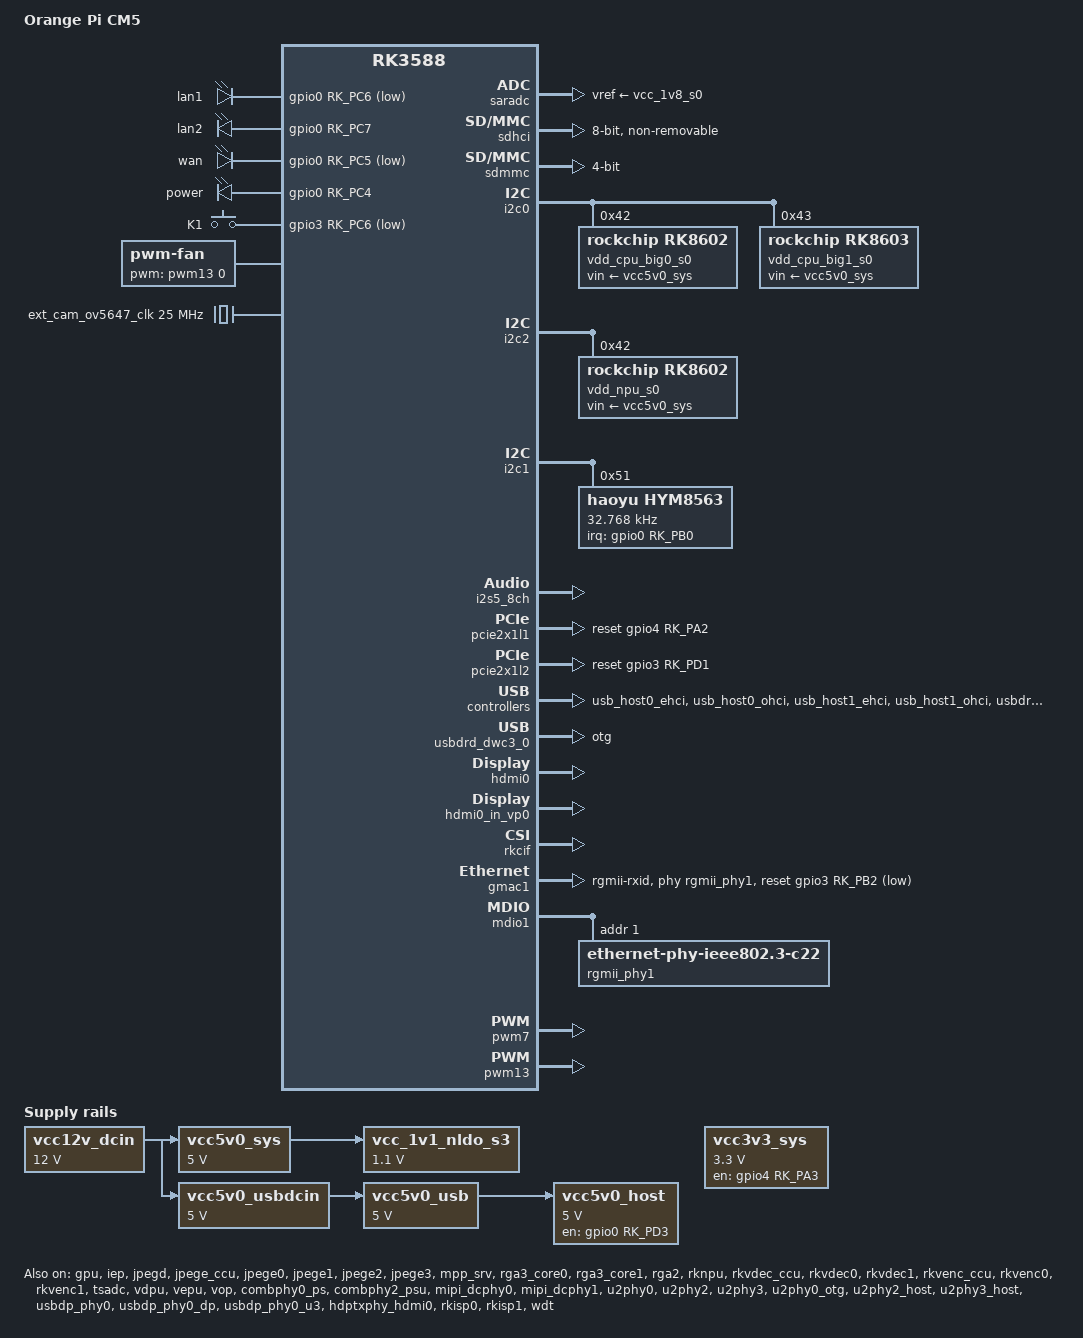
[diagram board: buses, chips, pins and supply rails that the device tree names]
// SPDX-License-Identifier: (GPL-2.0+ OR MIT)
/*
 * Copyright (c) 2021 Rockchip Electronics Co., Ltd.
 *
 */

/dts-v1/;

#include <dt-bindings/gpio/gpio.h>
#include <dt-bindings/pwm/pwm.h>
#include <dt-bindings/pinctrl/rockchip.h>
#include <dt-bindings/input/rk-input.h>
#include <dt-bindings/display/rockchip_vop.h>
#include <dt-bindings/sensor-dev.h>
#include "dt-bindings/usb/pd.h"

#include "rk3588s.dtsi"
#include "rk3588-rk806-single.dtsi"
#include "rk3588-linux.dtsi"

#include "rk3588s-orangepi-cm5-camera1.dtsi"
#include "rk3588s-orangepi-cm5-camera2.dtsi"
#include "rk3588s-orangepi-cm5-camera3.dtsi"
#include "rk3588s-orangepi-cm5-camera4.dtsi"

/ {
	model = "Orange Pi CM5";
	compatible = "rockchip,rk3588s-orangepi-cm5", "rockchip,rk3588";
	/delete-node/ chosen;

	hdmi0_sound: hdmi0-sound {
		status = "okay";
		compatible = "rockchip,hdmi";
		rockchip,mclk-fs = <128>;
		rockchip,card-name = "rockchip-hdmi0";
		rockchip,cpu = <&i2s5_8ch>;
		rockchip,codec = <&hdmi0>;
		rockchip,jack-det;
	};

	test-power {
		status = "disabled";
	};

	vcc12v_dcin: vcc12v-dcin {
		compatible = "regulator-fixed";
		regulator-name = "vcc12v_dcin";
		regulator-always-on;
		regulator-boot-on;
		regulator-min-microvolt = <12000000>;
		regulator-max-microvolt = <12000000>;
	};

	vcc5v0_sys: vcc5v0-sys {
		compatible = "regulator-fixed";
		regulator-name = "vcc5v0_sys";
		regulator-always-on;
		regulator-boot-on;
		regulator-min-microvolt = <5000000>;
		regulator-max-microvolt = <5000000>;
		vin-supply = <&vcc12v_dcin>;
	};

	vcc5v0_usbdcin: vcc5v0-usbdcin {
		compatible = "regulator-fixed";
		regulator-name = "vcc5v0_usbdcin";
		regulator-always-on;
		regulator-boot-on;
		regulator-min-microvolt = <5000000>;
		regulator-max-microvolt = <5000000>;
		vin-supply = <&vcc12v_dcin>;
	};

	vcc5v0_usb: vcc5v0-usb {
		compatible = "regulator-fixed";
		regulator-name = "vcc5v0_usb";
		regulator-always-on;
		regulator-boot-on;
		regulator-min-microvolt = <5000000>;
		regulator-max-microvolt = <5000000>;
		vin-supply = <&vcc5v0_usbdcin>;
	};

	vcc_1v1_nldo_s3: vcc-1v1-nldo-s3 {
		compatible = "regulator-fixed";
		regulator-name = "vcc_1v1_nldo_s3";
		regulator-always-on;
		regulator-boot-on;
		regulator-min-microvolt = <1100000>;
		regulator-max-microvolt = <1100000>;
		vin-supply = <&vcc5v0_sys>;
	};

	vcc5v0_host: vcc5v0-host {
		compatible = "regulator-fixed";
		regulator-name = "vcc5v0_host";
		regulator-boot-on;
		regulator-always-on;
		regulator-min-microvolt = <5000000>;
		regulator-max-microvolt = <5000000>;
		enable-active-high;
		gpio = <&gpio0 RK_PD3 GPIO_ACTIVE_HIGH>;
		vin-supply = <&vcc5v0_usb>;
		pinctrl-names = "default";
		pinctrl-0 = <&vcc5v0_host_en>;
	};

	vcc3v3_sys: vcc3v3-sys {
		compatible = "regulator-fixed";
		regulator-name = "vcc3v3_sys";
		regulator-min-microvolt = <3300000>;
		regulator-max-microvolt = <3300000>;
		regulator-boot-on;
		regulator-always-on;
		enable-active-high;
		gpios = <&gpio4 RK_PA3 GPIO_ACTIVE_HIGH>;
		startup-delay-us = <50000>;
	};

	leds: gpio-leds {
		compatible = "gpio-leds";
		pinctrl-names = "default";
		pinctrl-0 =<&leds_gpio>;
		status = "okay";

		lan1@0 {
			gpios = <&gpio0 RK_PC6 GPIO_ACTIVE_LOW>;
			label = "lan1";
			default-state = "on";
		};

		lan2@1 {
			gpios = <&gpio0 RK_PC7 GPIO_ACTIVE_HIGH>;
			label = "lan2";
			default-state = "on";
		};

		wan@3 {
			gpios = <&gpio0 RK_PC5 GPIO_ACTIVE_LOW>;
			label = "wan";
			default-state = "on";
		};

		power@4 {
			gpios = <&gpio0 RK_PC4 GPIO_ACTIVE_HIGH>;
			label = "power";
			default-state = "off";
		};
	};

	gpio_keys: gpio-keys {
		compatible = "gpio-keys";
		pinctrl-names = "default";
		pinctrl-0 = <&key1_pin>;
		status = "okay";

		button@1 {
			debounce-interval = <50>;
			gpios = <&gpio3 RK_PC6 GPIO_ACTIVE_LOW>;
			label = "K1";
			linux,code = <KEY_POWER>;
			wakeup-source;
		};
	};

	fan: pwm-fan {
		compatible = "pwm-fan";
		#cooling-cells = <2>;
		pwms = <&pwm13 0 20000000 0>;
		cooling-levels = <0 50 100 150 200 255>;
		rockchip,temp-trips = <
			50000   1
			55000   2
			60000   3
			65000   4
			70000   5
		>;

		status = "okay";
	};

	ext_cam_ov5647_clk: external-camera-ov5647-clock {
		compatible = "fixed-clock";
		clock-frequency = <25000000>;
		clock-output-names = "ext_cam_ov5647_clk";
		#clock-cells = <0>;
	};
};

&av1d_mmu {
	status = "okay";
};

&gpu {
	mali-supply = <&vdd_gpu_s0>;
	mem-supply = <&vdd_gpu_mem_s0>;
	status = "okay";
};

&iep {
	status = "okay";
};

&iep_mmu {
	status = "okay";
};

&jpegd {
	status = "okay";
};

&jpegd_mmu {
	status = "okay";
};

&jpege_ccu {
	status = "okay";
};

&jpege0 {
	status = "okay";
};

&jpege0_mmu {
	status = "okay";
};

&jpege1 {
	status = "okay";
};

&jpege1_mmu {
	status = "okay";
};

&jpege2 {
	status = "okay";
};

&jpege2_mmu {
	status = "okay";
};

&jpege3 {
	status = "okay";
};

&jpege3_mmu {
	status = "okay";
};

&mpp_srv {
	status = "okay";
};

&rga3_core0 {
	status = "okay";
};

&rga3_0_mmu {
	status = "okay";
};

&rga3_core1 {
	status = "okay";
};

&rga3_1_mmu {
	status = "okay";
};

&rga2 {
	status = "okay";
};

&rknpu {
	rknpu-supply = <&vdd_npu_s0>;
	mem-supply = <&vdd_npu_mem_s0>;
	status = "okay";
};

&rknpu_mmu {
	status = "okay";
};

&rkvdec_ccu {
	status = "okay";
};

&rkvdec0 {
	status = "okay";
};

&rkvdec0_mmu {
	status = "okay";
};

&rkvdec1 {
	status = "okay";
};

&rkvdec1_mmu {
	status = "okay";
};

&rkvenc_ccu {
	status = "okay";
};

&rkvenc0 {
	status = "okay";
};

&rkvenc0_mmu {
	status = "okay";
};

&rkvenc1 {
	status = "okay";
};

&rkvenc1_mmu {
	status = "okay";
};

&rockchip_suspend {
	status = "okay";
	rockchip,sleep-debug-en = <1>;
};

&saradc {
	status = "okay";
	vref-supply = <&vcc_1v8_s0>;
};

&sdhci {
	pinctrl-names = "default";
	pinctrl-0 = <&emmc_rstnout &emmc_bus8 &emmc_clk &emmc_cmd &emmc_data_strobe>;
	bus-width = <8>;
	no-sdio;
	no-sd;
	non-removable;
	max-frequency = <200000000>;
	mmc-hs400-1_8v;
	mmc-hs400-enhanced-strobe;
	status = "okay";
};

&sdmmc {
	max-frequency = <150000000>;
	no-sdio;
	no-mmc;
	bus-width = <4>;
	cap-mmc-highspeed;
	cap-sd-highspeed;
	disable-wp;
	sd-uhs-sdr104;
	vqmmc-supply = <&vccio_sd_s0>;
	status = "okay";
	/delete-property/ vmmc-supply;
};

&tsadc {
	status = "okay";
};

&vdpu {
	status = "okay";
};

&vdpu_mmu {
	status = "okay";
};

&vepu {
	status = "okay";
};

&vop {
	status = "okay";
	disable-win-move;
	assigned-clocks = <&cru ACLK_VOP>;
	assigned-clock-rates = <800000000>;
};

&vop_mmu {
	status = "okay";
};

/* vp0 & vp1 splice for 8K output */
&vp0 {
	cursor-win-id=<ROCKCHIP_VOP2_ESMART0>;
	rockchip,plane-mask = <(1 << ROCKCHIP_VOP2_CLUSTER0 | 1 << ROCKCHIP_VOP2_ESMART0)>;
	rockchip,primary-plane = <ROCKCHIP_VOP2_ESMART0>;
	rockchip,primary-plane = <ROCKCHIP_VOP2_CLUSTER0>;
};

&vp1 {
	cursor-win-id=<ROCKCHIP_VOP2_ESMART1>;
	rockchip,plane-mask = <(1 << ROCKCHIP_VOP2_CLUSTER1 | 1 << ROCKCHIP_VOP2_ESMART1)>;
	rockchip,primary-plane = <ROCKCHIP_VOP2_ESMART1>;
	rockchip,primary-plane = <ROCKCHIP_VOP2_CLUSTER1>;
};

&vp2 {
	cursor-win-id=<ROCKCHIP_VOP2_ESMART2>;
	rockchip,plane-mask = <(1 << ROCKCHIP_VOP2_CLUSTER2 | 1 << ROCKCHIP_VOP2_ESMART2)>;
	rockchip,primary-plane = <ROCKCHIP_VOP2_ESMART2>;
	rockchip,primary-plane = <ROCKCHIP_VOP2_CLUSTER2>;
};

&vp3 {
	cursor-win-id=<ROCKCHIP_VOP2_ESMART3>;
	rockchip,plane-mask = <(1 << ROCKCHIP_VOP2_CLUSTER3 | 1 << ROCKCHIP_VOP2_ESMART3)>;
	rockchip,primary-plane = <ROCKCHIP_VOP2_ESMART3>;
	rockchip,primary-plane = <ROCKCHIP_VOP2_CLUSTER3>;
};

&display_subsystem {
	clocks = <&hdptxphy_hdmi_clk0>;
	clock-names = "hdmi0_phy_pll";
};

&cpu_l0 {
	cpu-supply = <&vdd_cpu_lit_s0>;
	mem-supply = <&vdd_cpu_lit_mem_s0>;
};

&cpu_b0 {
	cpu-supply = <&vdd_cpu_big0_s0>;
	mem-supply = <&vdd_cpu_big0_mem_s0>;
};

&cpu_b2 {
	cpu-supply = <&vdd_cpu_big1_s0>;
	mem-supply = <&vdd_cpu_big1_mem_s0>;
};

&combphy0_ps {
	status = "okay";
};

&combphy2_psu {
	status = "okay";
};

&mipi_dcphy0 {
	status = "okay";
};

&mipi_dcphy1 {
	status = "okay";
};

&i2c0 {
	status = "okay";
	pinctrl-names = "default";
	pinctrl-0 = <&i2c0m2_xfer>;

	vdd_cpu_big0_s0: vdd_cpu_big0_mem_s0: rk8602@42 {
		compatible = "rockchip,rk8602";
		reg = <0x42>;
		vin-supply = <&vcc5v0_sys>;
		regulator-compatible = "rk860x-reg";
		regulator-name = "vdd_cpu_big0_s0";
		regulator-min-microvolt = <550000>;
		regulator-max-microvolt = <1050000>;
		regulator-ramp-delay = <2300>;
		rockchip,suspend-voltage-selector = <1>;
		regulator-boot-on;
		regulator-always-on;
		regulator-state-mem {
			regulator-off-in-suspend;
		};
	};

	vdd_cpu_big1_s0: vdd_cpu_big1_mem_s0: rk8603@43 {
		compatible = "rockchip,rk8603";
		reg = <0x43>;
		vin-supply = <&vcc5v0_sys>;
		regulator-compatible = "rk860x-reg";
		regulator-name = "vdd_cpu_big1_s0";
		regulator-min-microvolt = <550000>;
		regulator-max-microvolt = <1050000>;
		regulator-ramp-delay = <2300>;
		rockchip,suspend-voltage-selector = <1>;
		regulator-boot-on;
		regulator-always-on;
		regulator-state-mem {
			regulator-off-in-suspend;
		};
	};
};

&i2c2 {
	status = "okay";
	pinctrl-names = "default";
	pinctrl-0 = <&i2c2m0_xfer>;

	vdd_npu_s0: vdd_npu_mem_s0: rk8602@42 {
		compatible = "rockchip,rk8602";
		reg = <0x42>;
		vin-supply = <&vcc5v0_sys>;
		regulator-compatible = "rk860x-reg";
		regulator-name = "vdd_npu_s0";
		regulator-min-microvolt = <550000>;
		regulator-max-microvolt = <950000>;
		regulator-ramp-delay = <2300>;
		rockchip,suspend-voltage-selector = <1>;
		regulator-boot-on;
		regulator-always-on;
		regulator-state-mem {
			regulator-off-in-suspend;
		};
	};
};

&i2c1 {
	status = "okay";
	pinctrl-names = "default";
	pinctrl-0 = <&i2c1m2_xfer>;

	hym8563: hym8563@51 {
		compatible = "haoyu,hym8563";
		reg = <0x51>;
		#clock-cells = <0>;
		clock-frequency = <32768>;
		clock-output-names = "hym8563";
		pinctrl-names = "default";
		pinctrl-0 = <&hym8563_int>;
		interrupt-parent = <&gpio0>;
		interrupts = <RK_PB0 IRQ_TYPE_LEVEL_LOW>;
		status = "okay";
	};
};

&i2s5_8ch {
	status = "okay";
};

//phy2
&pcie2x1l1 {
	reset-gpios = <&gpio4 RK_PA2 GPIO_ACTIVE_HIGH>;
	status = "okay";
};

//phy0
&pcie2x1l2 {
	reset-gpios = <&gpio3 RK_PD1 GPIO_ACTIVE_HIGH>;
	status = "okay";
};

&pinctrl {
	usb {
		vcc5v0_host_en: vcc5v0-host-en {
			rockchip,pins = <0 RK_PD3 RK_FUNC_GPIO &pcfg_pull_none>;
		};
	};

	hym8563 {
		hym8563_int: hym8563-int {
			rockchip,pins = <0 RK_PB0 RK_FUNC_GPIO &pcfg_pull_up>;
		};
	};

	gpio-key {
		key1_pin: key1-pin {
			rockchip,pins = <3 RK_PC6 RK_FUNC_GPIO &pcfg_pull_up>;
		};
	};

	gpio-func {
		leds_gpio: leds-gpio {
			rockchip,pins =
				<0 RK_PC5 RK_FUNC_GPIO &pcfg_pull_none>,
				<0 RK_PC6 RK_FUNC_GPIO &pcfg_pull_none>,
				<0 RK_PC7 RK_FUNC_GPIO &pcfg_pull_none>;
		};
	};
};

&u2phy0 {
	status = "okay";
};

&u2phy2 {
	status = "okay";
};

&u2phy3 {
	status = "okay";
};

&u2phy0_otg {
	phy-supply = <&vcc5v0_host>;
	status = "okay";
};

&u2phy2_host {
	phy-supply = <&vcc5v0_host>;
	status = "okay";
};

&u2phy3_host {
	phy-supply = <&vcc5v0_host>;
	status = "okay";
};

&usb_host0_ehci {
	status = "okay";
};

&usb_host0_ohci {
	status = "okay";
};

&usb_host1_ehci {
	status = "okay";
};

&usb_host1_ohci {
	status = "okay";
};

&usb_host1_ohci {
	status = "okay";
};

&usbdp_phy0 {
	status = "okay";
	rockchip,dp-lane-mux = <2 3>;
};

&usbdp_phy0_dp {
	status = "okay";
};

&usbdp_phy0_u3 {
	status = "okay";
};

&usbdrd3_0 {
	status = "okay";
};

&usbhost3_0 {
	status = "disabled";
};

&usbdrd_dwc3_0 {
	status = "okay";
	dr_mode = "otg";
	extcon = <&u2phy0>;
};

&hdmi0 {
	status = "okay";
	enable-gpios = <&gpio4 RK_PB5 GPIO_ACTIVE_HIGH>;
	cec-enable = "true";
};

&hdmi0_in_vp0 {
	status = "okay";
};

&hdptxphy_hdmi0 {
	status = "okay";
};

&rkcif {
	status = "okay";
};

&rkcif_mmu {
	status = "okay";
};

&rkisp0 {
	status = "okay";
};

&isp0_mmu {
	status = "okay";
};

&rkisp1 {
	status = "okay";
};

&isp1_mmu {
	status = "okay";
};

/* watchdog */
&wdt {
	status = "okay";
};

&gmac1 {
	/* Use rgmii-rxid mode to disable rx delay inside Soc */
	phy-mode = "rgmii-rxid";
	clock_in_out = "output";

	snps,reset-gpio = <&gpio3 RK_PB2 GPIO_ACTIVE_LOW>;
	snps,reset-active-low;
	/* Reset time is 20ms, 100ms for rtl8211f */
	snps,reset-delays-us = <0 20000 100000>;

	pinctrl-names = "default";
	pinctrl-0 = <&gmac1_miim
	             &gmac1_tx_bus2
	             &gmac1_rx_bus2
	             &gmac1_rgmii_clk
	             &gmac1_rgmii_bus>;
	
	tx_delay = <0x42>;
	/* rx_delay = <0x3f>; */

	phy-handle = <&rgmii_phy1>;
	status = "okay";
};

&mdio1 {
	rgmii_phy1: phy@1 {
		compatible = "ethernet-phy-ieee802.3-c22";
		reg = <0x1>;
	};
};

&pwm7 {
	compatible = "rockchip,remotectl-pwm";
	pinctrl-names = "default";
	pinctrl-0 = <&pwm7m0_pins>;
	remote_pwm_id = <3>;
	handle_cpu_id = <1>;
	remote_support_psci = <0>;
	status = "okay";

	ir_key1 {
		rockchip,usercode = <0xfb04>;
		rockchip,key_table =
		        <0xa3   KEY_ENTER>,
		        <0xe4   388>,
		        <0xf5   KEY_BACK>,
		        <0xbb   KEY_UP>,
		        <0xe2   KEY_DOWN>,
		        <0xe3   KEY_LEFT>,
		        <0xb7   KEY_RIGHT>,
		        <0xe0   KEY_HOME>,
		        <0xba   KEY_VOLUMEUP>,
		        <0xda   KEY_VOLUMEUP>,
		        <0xe6   KEY_VOLUMEDOWN>,
		        <0xdb   KEY_VOLUMEDOWN>,
		        <0xbc   KEY_SEARCH>,
		        <0xb2   KEY_POWER>,
		        <0xe5   KEY_POWER>,
		        <0xde   KEY_POWER>,
		        <0xdc   KEY_MUTE>,
		        <0xa2   KEY_MENU>,
		        <0xec   KEY_1>,
		        <0xef   KEY_2>,
		        <0xee   KEY_3>,
		        <0xf0   KEY_4>,
		        <0xf3   KEY_5>,
		        <0xf2   KEY_6>,
		        <0xf4   KEY_7>,
		        <0xf7   KEY_8>,
		        <0xf6   KEY_9>,
		        <0xb8   KEY_0>;
	};
};

&pwm13 {
	status = "okay";
	pinctrl-names = "active";
	pinctrl-0 = <&pwm13m1_pins>;
};

&pwm14 {
	status = "disabled";
	pinctrl-names = "active";
	pinctrl-0 = <&pwm14m1_pins>;
};

&pwm15 {
	status = "disabled";
	pinctrl-names = "active";
	pinctrl-0 = <&pwm15m1_pins>;
};

&i2c7 {
	status = "disabled";
	pinctrl-names = "default";
	pinctrl-0 = <&i2c7m3_xfer>;
};

&uart4 {
	status = "disabled";
	pinctrl-names = "default";
	pinctrl-0 = <&uart4m2_xfer>;
};


&uart7 {
	status = "disabled";
	pinctrl-names = "default";
	pinctrl-0 = <&uart7m2_xfer>;
};

&can1 {
	status = "disabled";
	pinctrl-names = "default";
	pinctrl-0 = <&can1m1_pins>;
	assigned-clocks = <&cru CLK_CAN1>;
	assigned-clock-rates = <200000000>;
};

&spi0 {
	status = "disabled";
	assigned-clocks = <&cru CLK_SPI0>;
	assigned-clock-rates = <200000000>;
	num-cs = <2>;
};
